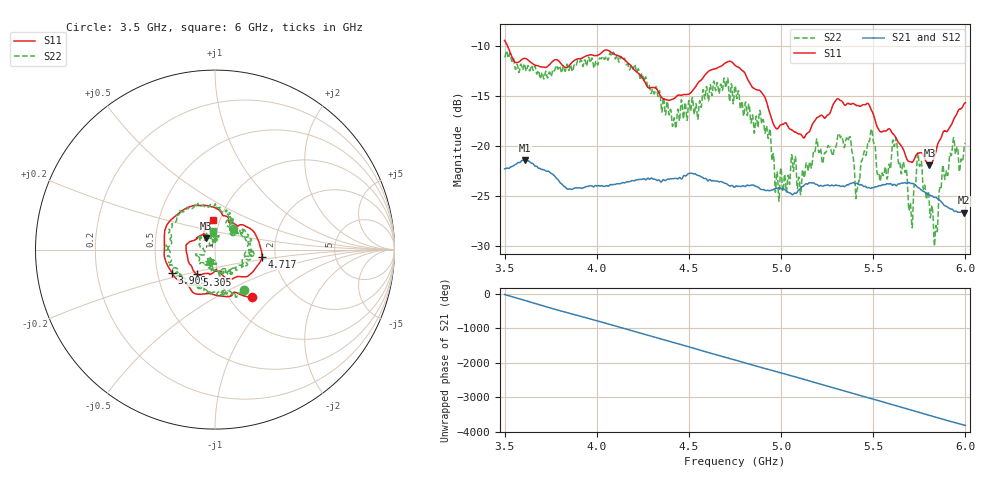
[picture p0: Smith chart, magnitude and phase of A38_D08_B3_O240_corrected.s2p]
! Created with skrf 1.9.0 (http://scikit-rf.org).
# Hz S RI R 50.0
!freq ReS11 ImS11 ReS21 ImS21 ReS12 ImS12 ReS22 ImS22
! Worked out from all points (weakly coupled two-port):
!   1601 points, 3.5 GHz to 6 GHz, reference 50 ohm
!   highest |S21| = -21.40 dB at 3.611 GHz (marker M1); lowest = -26.6 dB at 5.992 GHz (marker M2)
!   lowest |S11| = -21.9 dB at 5.805 GHz (marker M3), VSWR 1.17, Z = 45 + j5.78 ohm
!   |S11| at or under -10 dB: 3.515 GHz to end of sweep
!   |S22| runs from -30.0 to -10.5 dB; largest |S21 - S12| = 0.001
!   S11 on the Smith chart (normalised r, x): 3.5 GHz: 1.26, -0.76; 3.909 GHz: 0.60, -0.17; 4.717 GHz: 1.70, -0.14; 5.305 GHz: 0.79, -0.22; 6 GHz: 0.93, +0.31
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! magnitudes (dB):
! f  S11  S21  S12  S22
! 3.5 GHz  -9.5  -22.3  -22.3  -11.1
! 3.611 GHz  -11.3  -21.4  -21.4  -12.0
! 3.909 GHz  -11.3  -24.2  -24.1  -11.6
! 3.917 GHz  -11.3  -24.2  -24.2  -11.5
! 4.334 GHz  -14.6  -23.4  -23.3  -15.0
! 4.717 GHz  -11.6  -23.9  -24.0  -14.8
! 4.75 GHz  -11.9  -24.1  -24.0  -14.0
! 4.931 GHz  -16.3  -24.4  -24.4  -19.3
! 4.98 GHz  -18.3  -24.2  -24.2  -22.7
! 5.167 GHz  -17.9  -23.7  -23.7  -22.0
! 5.305 GHz  -15.3  -23.9  -23.9  -19.3
! 5.414 GHz  -16.0  -23.7  -23.8  -24.2
! 5.484 GHz  -16.2  -24.2  -24.2  -18.8
! 5.584 GHz  -18.3  -23.8  -23.8  -21.9
! 5.617 GHz  -19.0  -23.8  -23.8  -19.8
! 5.703 GHz  -21.6  -23.7  -23.7  -25.9
! 5.75 GHz  -20.7  -24.2  -24.2  -22.0
! 5.805 GHz  -21.9  -24.9  -24.9  -25.9
! 5.839 GHz  -20.6  -25.1  -25.1  -28.3
! 5.927 GHz  -17.8  -26.3  -26.3  -20.6
! 5.992 GHz  -15.8  -26.6  -26.6  -20.3
! 6 GHz  -15.7  -26.6  -26.6  -19.8
